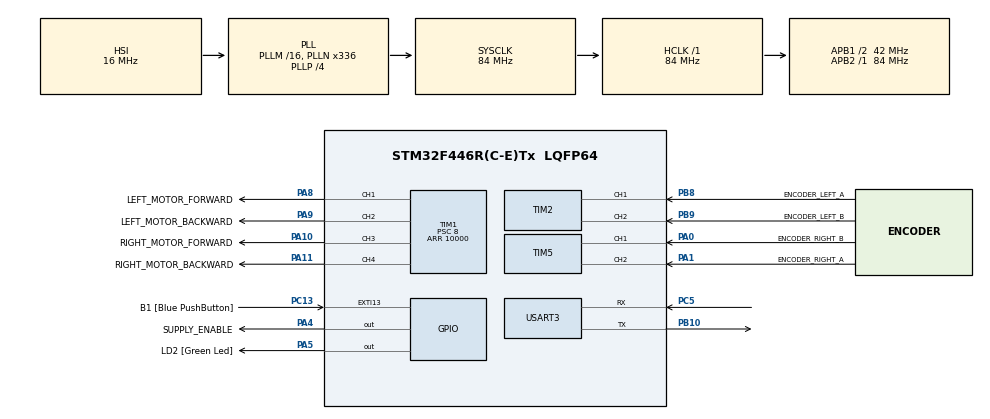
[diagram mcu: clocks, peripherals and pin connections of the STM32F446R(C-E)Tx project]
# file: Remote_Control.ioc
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Mcu.Family=STM32F4
PH0-OSC_IN.Signal=RCC_OSC_IN
Dma.USART3_RX.0.PeriphInc=DMA_PINC_DISABLE
SH.S_TIM1_CH4.0=TIM1_CH4,PWM Generation4 CH4
RCC.CortexFreq_Value=84000000
PB10.Mode=Asynchronous
PA14.GPIO_Label=TCK
SH.S_TIM5_CH2.0=TIM5_CH2,Encoder_Interface
PC5.Mode=Asynchronous
PC13.GPIO_Label=B1 [Blue PushButton]
RCC.SYSCLKSource=RCC_SYSCLKSOURCE_PLLCLK
ProjectManager.StackSize=0x400
TIM1.Prescaler=8
TIM1.Channel-PWM\ Generation4\ CH4=TIM_CHANNEL_4
RCC.HCLKFreq_Value=84000000
RCC.APB2TimFreq_Value=84000000
TIM3.Period=1000-1
RCC.AHBFreq_Value=84000000
PH0-OSC_IN.Mode=HSE-External-Oscillator
RCC.HSE_VALUE=8000000
Dma.USART3_RX.0.MemDataAlignment=DMA_MDATAALIGN_BYTE
PA4.GPIO_PuPd=GPIO_NOPULL
PC14-OSC32_IN.Mode=LSE-External-Oscillator
TIM1.Channel-PWM\ Generation1\ CH1=TIM_CHANNEL_1
PA14.Mode=Serial_Wire
TIM3.Prescaler=840-1
Dma.USART3_RX.0.PeriphDataAlignment=DMA_PDATAALIGN_BYTE
PA10.GPIO_Label=RIGHT_MOTOR_FORWARD
Dma.USART3_RX.0.FIFOMode=DMA_FIFOMODE_DISABLE
PA8.Signal=S_TIM1_CH1
TIM5.IC1Filter=15
RCC.FLatency-AdvancedSettings=FLASH_LATENCY_2
PH1-OSC_OUT.Mode=HSE-External-Oscillator
Dma.USART3_RX.0.Direction=DMA_PERIPH_TO_MEMORY
PB9.Signal=S_TIM2_CH2
Mcu.Package=LQFP64
PA2.GPIO_Label=USART_TX
PA10.Signal=S_TIM1_CH3
PA15.Signal=UART4_RTS
Dma.USART3_RX.0.MemInc=DMA_MINC_ENABLE
RCC.APB1TimFreq_Value=84000000
SH.S_TIM5_CH1.0=TIM5_CH1,Encoder_Interface
PC5.Signal=USART3_RX
TIM1.Period=10000
Dma.Request0=USART3_RX
PA4.GPIO_Label=SUPPLY_ENABLE
VP_TIM3_VS_ClockSourceINT.Mode=Internal
PA3.Signal=USART2_RX
PB3.GPIO_Label=SWO
Dma.USART3_RX.0.Instance=DMA1_Stream1
PC15-OSC32_OUT.Mode=LSE-External-Oscillator
TIM5.IC2Filter=15
PB9.GPIO_Label=ENCODER_LEFT_B
TIM2.IC1Filter=15
PC13.Signal=GPXTI13
PA9.GPIO_Label=LEFT_MOTOR_BACKWARD
PA11.GPIO_Label=RIGHT_MOTOR_BACKWARD
NVIC.DMA1_Stream1_IRQn=true\:0\:0\:false\:false\:true\:false\:true
RCC.APB1CLKDivider=RCC_HCLK_DIV2
PC14-OSC32_IN.Signal=RCC_OSC32_IN
PA0-WKUP.GPIO_Label=ENCODER_RIGHT_B
Dma.USART3_RX.0.Mode=DMA_NORMAL
PA0-WKUP.Signal=S_TIM5_CH1
PA13.Signal=SYS_JTMS-SWDIO
PB8.GPIO_Label=ENCODER_LEFT_A
SH.S_TIM2_CH2.0=TIM2_CH2,Encoder_Interface
PA8.GPIO_Label=LEFT_MOTOR_FORWARD
SH.S_TIM1_CH1.0=TIM1_CH1,PWM Generation1 CH1
ProjectManager.TargetToolchain=STM32CubeIDE
PA9.Signal=S_TIM1_CH2
TIM1.Channel-PWM\ Generation2\ CH2=TIM_CHANNEL_2
RCC.USBFreq_Value=168000000
PC15-OSC32_OUT.Signal=RCC_OSC32_OUT
PA1.Signal=S_TIM5_CH2
PB10.Signal=USART3_TX
PA5.Signal=GPIO_Output
board=NUCLEO-F446RE
RCC.VCOOutputFreq_Value=336000000
NVIC.TIM3_IRQn=true\:0\:0\:false\:false\:true\:true\:true
RCC.APB2Freq_Value=84000000
SH.S_TIM1_CH2.0=TIM1_CH2,PWM Generation2 CH2
PA1.GPIO_Label=ENCODER_RIGHT_A
PH1-OSC_OUT.Signal=RCC_OSC_OUT
PA13.Mode=Serial_Wire
Mcu.Name=STM32F446R(C-E)Tx
PA2.Signal=USART2_TX
PA13.GPIO_Label=TMS
RCC.48MHZClocksFreq_Value=84000000
PB3.Signal=SYS_JTDO-SWO
PA4.Signal=GPIO_Output
RCC.SYSCLKFreq_VALUE=84000000
Dma.USART3_RX.0.Priority=DMA_PRIORITY_HIGH
PA5.GPIO_Label=LD2 [Green Led]
PC13.GPIO_ModeDefaultEXTI=GPIO_MODE_IT_FALLING
USART3.VirtualMode=VM_ASYNC
PA11.Signal=S_TIM1_CH4
SH.S_TIM2_CH1_ETR.0=TIM2_CH1,Encoder_Interface
PA14.Signal=SYS_JTCK-SWCLK
ProjectManager.HeapSize=0x200
SH.S_TIM1_CH3.0=TIM1_CH3,PWM Generation3 CH3
RCC.HSI_VALUE=16000000
RCC.PLLP=RCC_PLLP_DIV4
NVIC.PriorityGroup=NVIC_PRIORITYGROUP_4
RCC.PLLN=336
PB8.Signal=S_TIM2_CH1_ETR
TIM1.Channel-PWM\ Generation3\ CH3=TIM_CHANNEL_3
RCC.APB1Freq_Value=42000000
TIM2.IC2Filter=15
PA3.GPIO_Label=USART_RX

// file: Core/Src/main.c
/* USER CODE BEGIN Header */
/**
  ******************************************************************************
  * @file           : main.c
  * @brief          : Main program body
  ******************************************************************************
  * @attention
  *
  * <h2><center>&copy; Copyright (c) 2021 STMicroelectronics.
  * All rights reserved.</center></h2>
  *
  * This software component is licensed by ST under BSD 3-Clause license,
  * the "License"; You may not use this file except in compliance with the
  * License. You may obtain a copy of the License at:
  *                        opensource.org/licenses/BSD-3-Clause
  *
  ******************************************************************************
  */
/* USER CODE END Header */
#include "main.h"

/* USER CODE BEGIN Includes */

#include "my_lib/differential_drive.h"
#include "my_lib/retarget.h"
#include "my_lib/datastream.h"
#include "my_lib/digital_filters.h"
#include "my_data/identification.h"

#include <stdio.h>
#include <stdlib.h>
#include <stdbool.h>
#include <math.h>

/* USER CODE END Includes */

TIM_HandleTypeDef htim1;
TIM_HandleTypeDef htim2;
TIM_HandleTypeDef htim3;
TIM_HandleTypeDef htim5;

UART_HandleTypeDef huart3;
DMA_HandleTypeDef hdma_usart3_rx;

/* USER CODE BEGIN PV */

DIFFDRIVE_HandleTypeDef hdiffdrive;

MAF_HandleTypeDef hfilter_a, hfilter_th;

/* USER CODE END PV */

void SystemClock_Config(void);
static void MX_GPIO_Init(void);
static void MX_DMA_Init(void);
static void MX_TIM2_Init(void);
static void MX_TIM1_Init(void);
static void MX_TIM3_Init(void);
static void MX_TIM5_Init(void);
static void MX_USART3_UART_Init(void);
/* USER CODE BEGIN PFP */

static void MAIN_DIFFDRIVE_Init(void);
static void MAIN_MAF_Init(void);

/* USER CODE END PFP */

/* USER CODE BEGIN 0 */

bool data_received= false;

void UART_RxCpltCallback(UART_HandleTypeDef *huart){
	data_received = true;
}

/* USER CODE END 0 */

int main(void)
{

  /* MCU Configuration--------------------------------------------------------*/

  /* Reset of all peripherals, Initializes the Flash interface and the Systick. */
  HAL_Init();

  /* Configure the system clock */
  SystemClock_Config();

  /* Initialize all configured peripherals */
  MX_GPIO_Init();
  MX_DMA_Init();
  MX_TIM2_Init();
  MX_TIM1_Init();
  MX_TIM3_Init();
  MX_TIM5_Init();
  MX_USART3_UART_Init();
  /* USER CODE BEGIN 2 */

  DATASTREAM_Init(&huart3);

  MAIN_DIFFDRIVE_Init();
  MAIN_MAF_Init();

  // Assign uart Rx complete callback
  huart3.RxCpltCallback= UART_RxCpltCallback;

  /* USER CODE END 2 */

  /* Infinite loop */
  /* USER CODE BEGIN WHILE */

  float delta_a=0, delta_th=0;

  float delta_a_max= 3e-3, delta_th_max= 4e-2;

  uint8_t cmd[1];
  bool stop_flag= true;

  // Wait until a message is received
  HAL_UART_Receive_DMA(&huart3, cmd, sizeof(uint8_t));
  while( !data_received )
	  __NOP();

  HAL_Delay(1000);

  // Start receive a data
  data_received= false;
  HAL_UART_Receive_DMA(&huart3, cmd, sizeof(uint8_t));

  while (1)
  {

	  if( data_received ){

		  if( stop_flag ){
			  DIFFDRIVE_TrackingStart();
			  stop_flag= false;
		  }

		  switch (cmd[0]){
		  	  case 'i':
		  		  delta_a +=  30e-4;
		  		  delta_th = 0;
		  		  break;
		  	  case 'k':
		  		  delta_a += -30e-4;
		  		  delta_th = 0;
		  		  break;
		  	  case 'l':
		  		  if( delta_a >= delta_a_max || delta_a <= -delta_a_max )
		  			  delta_a *= 0.4;
		  		  delta_th += -5e-3;
		  		  break;
		  	  case 'j':
		  		if( delta_a >= delta_a_max || delta_a <= -delta_a_max )
		  			delta_a *= 0.4;
		  		  delta_th +=  5e-3;
		  		  break;
		  	  case 'm':
		  		  DIFFDRIVE_TrackingStop();
		  		  MAF_Reset(&hfilter_a, 0);
		  		  MAF_Reset(&hfilter_th, 0);

		  		  stop_flag= true;

		  		  delta_a=  0;
		  		  delta_th= 0;
		  		  break;
		  	  default:
		  		  break;
		  }

		  // Receive a new data
		  data_received= false;
		  HAL_UART_Receive_DMA(&huart3, cmd, sizeof(uint8_t));

		  // Toggle built in led
		  HAL_GPIO_TogglePin(LD2_GPIO_Port, LD2_Pin);
	  }

	  // Enroll values
	  if( delta_a > delta_a_max )
		  delta_a = delta_a_max;
	  else
	  if( delta_a < -delta_a_max )
		  delta_a = -delta_a_max;

	  if( delta_th > delta_th_max )
		  delta_th = delta_th_max;
	  else
	  if( delta_th < -delta_th_max )
		  delta_th = -delta_th_max;

	  // Update filters
	  MAF_Update(&hfilter_a,  delta_a);
	  MAF_Update(&hfilter_th, delta_th);

	  // Get current values
	  delta_a=  __MAF_GET_VAL(&hfilter_a);
	  delta_th= __MAF_GET_VAL(&hfilter_th);

	  // Make step control
	  if( !stop_flag )
		  DIFFDRIVE_TrackingStep(delta_a, delta_th);

    /* USER CODE END WHILE */

  }
}

void SystemClock_Config(void)
{
  RCC_OscInitTypeDef RCC_OscInitStruct = {0};
  RCC_ClkInitTypeDef RCC_ClkInitStruct = {0};

  /** Configure the main internal regulator output voltage
  */
  __HAL_RCC_PWR_CLK_ENABLE();
  __HAL_PWR_VOLTAGESCALING_CONFIG(PWR_REGULATOR_VOLTAGE_SCALE3);
  /** Initializes the RCC Oscillators according to the specified parameters
  * in the RCC_OscInitTypeDef structure.
  */
  RCC_OscInitStruct.OscillatorType = RCC_OSCILLATORTYPE_HSI;
  RCC_OscInitStruct.HSIState = RCC_HSI_ON;
  RCC_OscInitStruct.HSICalibrationValue = RCC_HSICALIBRATION_DEFAULT;
  RCC_OscInitStruct.PLL.PLLState = RCC_PLL_ON;
  RCC_OscInitStruct.PLL.PLLSource = RCC_PLLSOURCE_HSI;
  RCC_OscInitStruct.PLL.PLLM = 16;
  RCC_OscInitStruct.PLL.PLLN = 336;
  RCC_OscInitStruct.PLL.PLLP = RCC_PLLP_DIV4;
  RCC_OscInitStruct.PLL.PLLQ = 2;
  RCC_OscInitStruct.PLL.PLLR = 2;
  if (HAL_RCC_OscConfig(&RCC_OscInitStruct) != HAL_OK)
  {
    Error_Handler();
  }
  /** Initializes the CPU, AHB and APB buses clocks
  */
  RCC_ClkInitStruct.ClockType = RCC_CLOCKTYPE_HCLK|RCC_CLOCKTYPE_SYSCLK
                              |RCC_CLOCKTYPE_PCLK1|RCC_CLOCKTYPE_PCLK2;
  RCC_ClkInitStruct.SYSCLKSource = RCC_SYSCLKSOURCE_PLLCLK;
  RCC_ClkInitStruct.AHBCLKDivider = RCC_SYSCLK_DIV1;
  RCC_ClkInitStruct.APB1CLKDivider = RCC_HCLK_DIV2;
  RCC_ClkInitStruct.APB2CLKDivider = RCC_HCLK_DIV1;

  if (HAL_RCC_ClockConfig(&RCC_ClkInitStruct, FLASH_LATENCY_2) != HAL_OK)
  {
    Error_Handler();
  }
}

static void MX_TIM1_Init(void)
{

  TIM_MasterConfigTypeDef sMasterConfig = {0};
  TIM_OC_InitTypeDef sConfigOC = {0};
  TIM_BreakDeadTimeConfigTypeDef sBreakDeadTimeConfig = {0};

  htim1.Instance = TIM1;
  htim1.Init.Prescaler = 8;
  htim1.Init.CounterMode = TIM_COUNTERMODE_UP;
  htim1.Init.Period = 10000;
  htim1.Init.ClockDivision = TIM_CLOCKDIVISION_DIV1;
  htim1.Init.RepetitionCounter = 0;
  htim1.Init.AutoReloadPreload = TIM_AUTORELOAD_PRELOAD_DISABLE;
  if (HAL_TIM_PWM_Init(&htim1) != HAL_OK)
  {
    Error_Handler();
  }
  sMasterConfig.MasterOutputTrigger = TIM_TRGO_RESET;
  sMasterConfig.MasterSlaveMode = TIM_MASTERSLAVEMODE_DISABLE;
  if (HAL_TIMEx_MasterConfigSynchronization(&htim1, &sMasterConfig) != HAL_OK)
  {
    Error_Handler();
  }
  sConfigOC.OCMode = TIM_OCMODE_PWM1;
  sConfigOC.Pulse = 0;
  sConfigOC.OCPolarity = TIM_OCPOLARITY_HIGH;
  sConfigOC.OCNPolarity = TIM_OCNPOLARITY_HIGH;
  sConfigOC.OCFastMode = TIM_OCFAST_DISABLE;
  sConfigOC.OCIdleState = TIM_OCIDLESTATE_RESET;
  sConfigOC.OCNIdleState = TIM_OCNIDLESTATE_RESET;
  if (HAL_TIM_PWM_ConfigChannel(&htim1, &sConfigOC, TIM_CHANNEL_1) != HAL_OK)
  {
    Error_Handler();
  }
  if (HAL_TIM_PWM_ConfigChannel(&htim1, &sConfigOC, TIM_CHANNEL_2) != HAL_OK)
  {
    Error_Handler();
  }
  if (HAL_TIM_PWM_ConfigChannel(&htim1, &sConfigOC, TIM_CHANNEL_3) != HAL_OK)
  {
    Error_Handler();
  }
  if (HAL_TIM_PWM_ConfigChannel(&htim1, &sConfigOC, TIM_CHANNEL_4) != HAL_OK)
  {
    Error_Handler();
  }
  sBreakDeadTimeConfig.OffStateRunMode = TIM_OSSR_DISABLE;
  sBreakDeadTimeConfig.OffStateIDLEMode = TIM_OSSI_DISABLE;
  sBreakDeadTimeConfig.LockLevel = TIM_LOCKLEVEL_OFF;
  sBreakDeadTimeConfig.DeadTime = 0;
  sBreakDeadTimeConfig.BreakState = TIM_BREAK_DISABLE;
  sBreakDeadTimeConfig.BreakPolarity = TIM_BREAKPOLARITY_HIGH;
  sBreakDeadTimeConfig.AutomaticOutput = TIM_AUTOMATICOUTPUT_DISABLE;
  if (HAL_TIMEx_ConfigBreakDeadTime(&htim1, &sBreakDeadTimeConfig) != HAL_OK)
  {
    Error_Handler();
  }
  HAL_TIM_MspPostInit(&htim1);

}

static void MX_TIM2_Init(void)
{

  TIM_Encoder_InitTypeDef sConfig = {0};
  TIM_MasterConfigTypeDef sMasterConfig = {0};

  htim2.Instance = TIM2;
  htim2.Init.Prescaler = 0;
  htim2.Init.CounterMode = TIM_COUNTERMODE_UP;
  htim2.Init.Period = 4294967295;
  htim2.Init.ClockDivision = TIM_CLOCKDIVISION_DIV1;
  htim2.Init.AutoReloadPreload = TIM_AUTORELOAD_PRELOAD_DISABLE;
  sConfig.EncoderMode = TIM_ENCODERMODE_TI1;
  sConfig.IC1Polarity = TIM_ICPOLARITY_RISING;
  sConfig.IC1Selection = TIM_ICSELECTION_DIRECTTI;
  sConfig.IC1Prescaler = TIM_ICPSC_DIV1;
  sConfig.IC1Filter = 15;
  sConfig.IC2Polarity = TIM_ICPOLARITY_RISING;
  sConfig.IC2Selection = TIM_ICSELECTION_DIRECTTI;
  sConfig.IC2Prescaler = TIM_ICPSC_DIV1;
  sConfig.IC2Filter = 15;
  if (HAL_TIM_Encoder_Init(&htim2, &sConfig) != HAL_OK)
  {
    Error_Handler();
  }
  sMasterConfig.MasterOutputTrigger = TIM_TRGO_RESET;
  sMasterConfig.MasterSlaveMode = TIM_MASTERSLAVEMODE_DISABLE;
  if (HAL_TIMEx_MasterConfigSynchronization(&htim2, &sMasterConfig) != HAL_OK)
  {
    Error_Handler();
  }

}

static void MX_TIM3_Init(void)
{

  TIM_ClockConfigTypeDef sClockSourceConfig = {0};
  TIM_MasterConfigTypeDef sMasterConfig = {0};

  htim3.Instance = TIM3;
  htim3.Init.Prescaler = 840-1;
  htim3.Init.CounterMode = TIM_COUNTERMODE_UP;
  htim3.Init.Period = 1000-1;
  htim3.Init.ClockDivision = TIM_CLOCKDIVISION_DIV1;
  htim3.Init.AutoReloadPreload = TIM_AUTORELOAD_PRELOAD_DISABLE;
  if (HAL_TIM_Base_Init(&htim3) != HAL_OK)
  {
    Error_Handler();
  }
  sClockSourceConfig.ClockSource = TIM_CLOCKSOURCE_INTERNAL;
  if (HAL_TIM_ConfigClockSource(&htim3, &sClockSourceConfig) != HAL_OK)
  {
    Error_Handler();
  }
  sMasterConfig.MasterOutputTrigger = TIM_TRGO_RESET;
  sMasterConfig.MasterSlaveMode = TIM_MASTERSLAVEMODE_DISABLE;
  if (HAL_TIMEx_MasterConfigSynchronization(&htim3, &sMasterConfig) != HAL_OK)
  {
    Error_Handler();
  }

}

static void MX_TIM5_Init(void)
{

  TIM_Encoder_InitTypeDef sConfig = {0};
  TIM_MasterConfigTypeDef sMasterConfig = {0};

  htim5.Instance = TIM5;
  htim5.Init.Prescaler = 0;
  htim5.Init.CounterMode = TIM_COUNTERMODE_UP;
  htim5.Init.Period = 4294967295;
  htim5.Init.ClockDivision = TIM_CLOCKDIVISION_DIV1;
  htim5.Init.AutoReloadPreload = TIM_AUTORELOAD_PRELOAD_DISABLE;
  sConfig.EncoderMode = TIM_ENCODERMODE_TI1;
  sConfig.IC1Polarity = TIM_ICPOLARITY_RISING;
  sConfig.IC1Selection = TIM_ICSELECTION_DIRECTTI;
  sConfig.IC1Prescaler = TIM_ICPSC_DIV1;
  sConfig.IC1Filter = 15;
  sConfig.IC2Polarity = TIM_ICPOLARITY_RISING;
  sConfig.IC2Selection = TIM_ICSELECTION_DIRECTTI;
  sConfig.IC2Prescaler = TIM_ICPSC_DIV1;
  sConfig.IC2Filter = 15;
  if (HAL_TIM_Encoder_Init(&htim5, &sConfig) != HAL_OK)
  {
    Error_Handler();
  }
  sMasterConfig.MasterOutputTrigger = TIM_TRGO_RESET;
  sMasterConfig.MasterSlaveMode = TIM_MASTERSLAVEMODE_DISABLE;
  if (HAL_TIMEx_MasterConfigSynchronization(&htim5, &sMasterConfig) != HAL_OK)
  {
    Error_Handler();
  }

}

static void MX_USART3_UART_Init(void)
{

  huart3.Instance = USART3;
  huart3.Init.BaudRate = 115200;
  huart3.Init.WordLength = UART_WORDLENGTH_8B;
  huart3.Init.StopBits = UART_STOPBITS_1;
  huart3.Init.Parity = UART_PARITY_NONE;
  huart3.Init.Mode = UART_MODE_TX_RX;
  huart3.Init.HwFlowCtl = UART_HWCONTROL_NONE;
  huart3.Init.OverSampling = UART_OVERSAMPLING_16;
  if (HAL_UART_Init(&huart3) != HAL_OK)
  {
    Error_Handler();
  }

}

static void MX_DMA_Init(void)
{

  /* DMA controller clock enable */
  __HAL_RCC_DMA1_CLK_ENABLE();

  /* DMA interrupt init */
  /* DMA1_Stream1_IRQn interrupt configuration */
  HAL_NVIC_SetPriority(DMA1_Stream1_IRQn, 0, 0);
  HAL_NVIC_EnableIRQ(DMA1_Stream1_IRQn);

}

static void MX_GPIO_Init(void)
{
  GPIO_InitTypeDef GPIO_InitStruct = {0};

  /* GPIO Ports Clock Enable */
  __HAL_RCC_GPIOC_CLK_ENABLE();
  __HAL_RCC_GPIOH_CLK_ENABLE();
  __HAL_RCC_GPIOA_CLK_ENABLE();
  __HAL_RCC_GPIOB_CLK_ENABLE();

  /*Configure GPIO pin Output Level */
  HAL_GPIO_WritePin(GPIOA, SUPPLY_ENABLE_Pin|LD2_Pin, GPIO_PIN_RESET);

  /*Configure GPIO pin : B1_Pin */
  GPIO_InitStruct.Pin = B1_Pin;
  GPIO_InitStruct.Mode = GPIO_MODE_IT_FALLING;
  GPIO_InitStruct.Pull = GPIO_NOPULL;
  HAL_GPIO_Init(B1_GPIO_Port, &GPIO_InitStruct);

  /*Configure GPIO pins : USART_TX_Pin USART_RX_Pin */
  GPIO_InitStruct.Pin = USART_TX_Pin|USART_RX_Pin;
  GPIO_InitStruct.Mode = GPIO_MODE_AF_PP;
  GPIO_InitStruct.Pull = GPIO_NOPULL;
  GPIO_InitStruct.Speed = GPIO_SPEED_FREQ_VERY_HIGH;
  GPIO_InitStruct.Alternate = GPIO_AF7_USART2;
  HAL_GPIO_Init(GPIOA, &GPIO_InitStruct);

  /*Configure GPIO pins : SUPPLY_ENABLE_Pin LD2_Pin */
  GPIO_InitStruct.Pin = SUPPLY_ENABLE_Pin|LD2_Pin;
  GPIO_InitStruct.Mode = GPIO_MODE_OUTPUT_PP;
  GPIO_InitStruct.Pull = GPIO_NOPULL;
  GPIO_InitStruct.Speed = GPIO_SPEED_FREQ_LOW;
  HAL_GPIO_Init(GPIOA, &GPIO_InitStruct);

  /*Configure GPIO pin : PA15 */
  GPIO_InitStruct.Pin = GPIO_PIN_15;
  GPIO_InitStruct.Mode = GPIO_MODE_AF_PP;
  GPIO_InitStruct.Pull = GPIO_NOPULL;
  GPIO_InitStruct.Speed = GPIO_SPEED_FREQ_VERY_HIGH;
  GPIO_InitStruct.Alternate = GPIO_AF8_UART4;
  HAL_GPIO_Init(GPIOA, &GPIO_InitStruct);

}

/* USER CODE BEGIN 4 */

static void MAIN_DIFFDRIVE_Init(void){

	float Ts= 0.01;
	int max_sample= 1400;

	hdiffdrive.Init.timing_htim= &htim3;
	hdiffdrive.Init.timing_time_step= Ts;

	hdiffdrive.Init.encoder_htim[left ]= &htim2;
	hdiffdrive.Init.encoder_htim[right]= &htim5;
	hdiffdrive.Init.encoder_channel[left ]= TIM_CHANNEL_1;
	hdiffdrive.Init.encoder_channel[right]= TIM_CHANNEL_1;

	hdiffdrive.Init.encoder_resolution[left ]= 1900; //1920; // Number of step each wheel revolution
	hdiffdrive.Init.encoder_resolution[right]= 1900; //1920;

	hdiffdrive.Init.motor_htim[left ][forward ]= &htim1;
	hdiffdrive.Init.motor_htim[left ][backward]= &htim1;
	hdiffdrive.Init.motor_htim[right][forward ]= &htim1;
	hdiffdrive.Init.motor_htim[right][backward]= &htim1;

	hdiffdrive.Init.motor_pwm_channel[left ][forward ]= TIM_CHANNEL_1;
	hdiffdrive.Init.motor_pwm_channel[left ][backward]= TIM_CHANNEL_2;
	hdiffdrive.Init.motor_pwm_channel[right][forward ]= TIM_CHANNEL_3;
	hdiffdrive.Init.motor_pwm_channel[right][backward]= TIM_CHANNEL_4;

	hdiffdrive.Init.motor_max_voltage[left ]= 	  MOTOR_MAX_VOLTAGE;
	hdiffdrive.Init.motor_max_voltage[right]= 	  MOTOR_MAX_VOLTAGE;
	hdiffdrive.Init.motor_min_voltage[left ]= 	  MOTOR_MIN_VOLTAGE;
	hdiffdrive.Init.motor_min_voltage[right]= 	  MOTOR_MIN_VOLTAGE;
	hdiffdrive.Init.motor_supply_voltage[left]=   SUPPLY_VOLTAGE;
	hdiffdrive.Init.motor_supply_voltage[right]=  SUPPLY_VOLTAGE;

	hdiffdrive.Init.control_fdfrwrd_arma_AR[left ]= AR_L;
	hdiffdrive.Init.control_fdfrwrd_arma_AR[right]= AR_R;
	hdiffdrive.Init.control_fdfrwrd_arma_MA[left ]= MA_L;
	hdiffdrive.Init.control_fdfrwrd_arma_MA[right]= MA_R;
	hdiffdrive.Init.control_fdfrwrd_arma_n_ar[left ]= N_AR_L;
	hdiffdrive.Init.control_fdfrwrd_arma_n_ar[right]= N_AR_R;
	hdiffdrive.Init.control_fdfrwrd_arma_n_ma[left ]= N_MA_L;
	hdiffdrive.Init.control_fdfrwrd_arma_n_ma[right]= N_MA_R;
	hdiffdrive.Init.control_fdfrwrd_arma_tau[left ]= TAU_L;
	hdiffdrive.Init.control_fdfrwrd_arma_tau[right]= TAU_R;

	hdiffdrive.Init.control_pid_P[left ]= 33.3;
	hdiffdrive.Init.control_pid_P[right]= 33.3;
	hdiffdrive.Init.control_pid_I[left ]= 7.6;
	hdiffdrive.Init.control_pid_I[right]= 7.6;
	hdiffdrive.Init.control_pid_D[left ]= 0;
	hdiffdrive.Init.control_pid_D[right]= 0;

	hdiffdrive.Init.history_max_sample= max_sample;

	hdiffdrive.Init.mech_prmtr_l=               0.155/2;
	hdiffdrive.Init.mech_prmtr_r=               0.069/2;
	hdiffdrive.Init.mech_prmtr_max_wheel_speed= 16;      // 16 rad/s, from DC motor specifics

	DIFFDRIVE_Init(&hdiffdrive);

}

// Moving Average Filter initialization --------------------------------------------- //
static void MAIN_MAF_Init(void){

	int filtr_a_size=  15;
	int filtr_th_size= 4;

	// Null pointer to use a MAF without weights
	void* weights_buff= NULL;

	// Creating filters
	hfilter_a  = MAF_Create(filtr_a_size,  weights_buff);
	hfilter_th = MAF_Create(filtr_th_size, weights_buff);

}

/* USER CODE END 4 */

void Error_Handler(void)
{
  __disable_irq();
  while (1)
  {
  }
}

/************************ (C) COPYRIGHT STMicroelectronics *****END OF FILE****/
